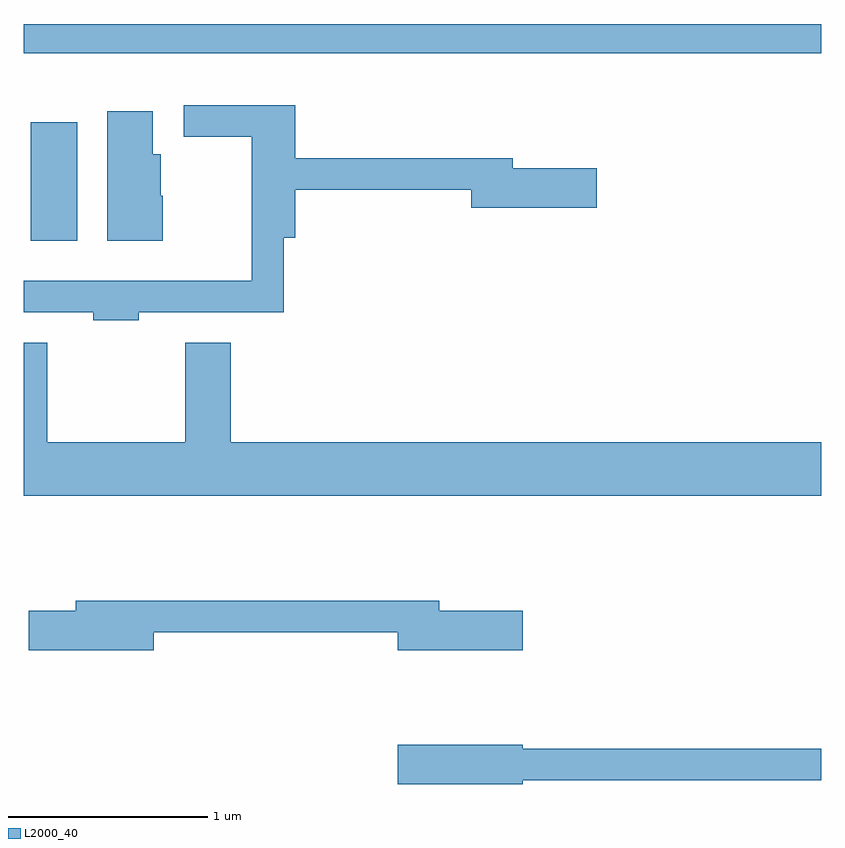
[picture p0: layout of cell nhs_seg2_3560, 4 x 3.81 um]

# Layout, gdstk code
import gdstk
lib = gdstk.Library(unit=1e-6, precision=1e-09)
def R(c, l, rs):  # rectangles x0, y0, x1, y1
    for r in rs: c.add(gdstk.rectangle(r[:2], r[2:], *l))
def P(c, l, *ps):  # polygons
    for p in ps: c.add(gdstk.Polygon(p, *l))
L2000_40 = (2000, 40)

nhs_seg2_3560 = lib.new_cell('nhs_seg2_3560')
R(nhs_seg2_3560, L2000_40, [(289.646,1040.716,289.879,1041.309), (289.611,1041.656,293.611,1041.802)])
P(nhs_seg2_3560, L2000_40, [(290.189,1040.356),(290.914,1040.356),(290.914,1040.731),(290.974,1040.731),(290.974,1040.971),(291.856,1040.971),(291.856,1040.881),(292.484,1040.881),(292.484,1041.079),(292.064,1041.079),(292.064,1041.129),(290.974,1041.129),(290.974,1041.394),(290.413,1041.394),(290.413,1041.236),(290.756,1041.236),(290.756,1040.514),(289.611,1040.514),(289.611,1040.356),(289.961,1040.356),(289.961,1040.316),(290.189,1040.316)],
  [(290.309,1040.94),(290.299,1040.94),(290.299,1041.149),(290.259,1041.149),(290.259,1041.364),(290.031,1041.364),(290.031,1040.716),(290.309,1040.716)],
  [(293.611,1039.704),(290.649,1039.704),(290.649,1040.204),(290.421,1040.204),(290.421,1039.704),(289.729,1039.704),(289.729,1040.204),(289.611,1040.204),(289.611,1039.436),(293.611,1039.436)],
  [(290.264,1038.751),(291.486,1038.751),(291.486,1038.661),(292.114,1038.661),(292.114,1038.859),(291.694,1038.859),(291.694,1038.909),(289.871,1038.909),(289.871,1038.859),(289.636,1038.859),(289.636,1038.661),(290.264,1038.661)],
  [(292.114,1038.011),(293.611,1038.011),(293.611,1038.169),(292.114,1038.169),(292.114,1038.189),(291.486,1038.189),(291.486,1037.991),(292.114,1037.991)])

lib.write_gds('nhs_seg2_3560.gds')
